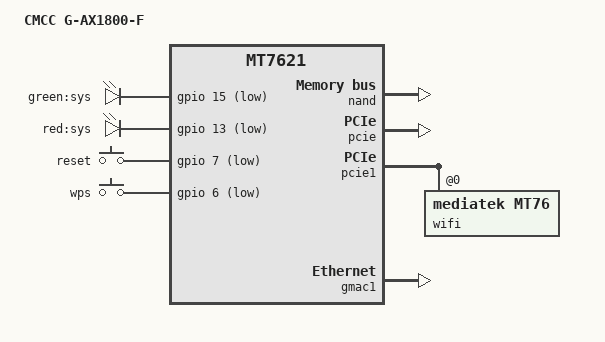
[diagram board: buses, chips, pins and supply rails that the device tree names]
// SPDX-License-Identifier: GPL-2.0-or-later OR MIT

#include "mt7621.dtsi"

#include <dt-bindings/gpio/gpio.h>
#include <dt-bindings/input/input.h>

/ {
	compatible = "cmcc,g-ax1800-f", "mediatek,mt7621-soc";
	model = "CMCC G-AX1800-F";

	aliases {
		led-boot = &led_sys_yellow;
		led-failsafe = &led_sys_yellow;
		led-running = &led_sys_blue;
		led-upgrade = &led_sys_yellow;
		label-mac-device = &gmac0;
	};

	chosen {
		bootargs = "console=ttyS0,115200n8";
	};

	leds {
		compatible = "gpio-leds";

		led_sys_green: sys_green {
			label = "green:sys";
			gpios = <&gpio 15 GPIO_ACTIVE_LOW>;
		};

		led_sys_red: sys_red {
			label = "red:sys";
			gpios = <&gpio 13 GPIO_ACTIVE_LOW>;
		};
	};

	keys {
		compatible = "gpio-keys";

		reset {
			label = "reset";
			gpios = <&gpio 7 GPIO_ACTIVE_LOW>;
			linux,code = <KEY_RESTART>;
		};

		wps {
			label = "wps";
			gpios = <&gpio 6 GPIO_ACTIVE_LOW>;
			linux,code = <KEY_WPS_BUTTON>;
		};
	};
};

&nand {
	status = "okay";

	partitions {
		compatible = "fixed-partitions";
		#address-cells = <1>;
		#size-cells = <1>;

		partition@0 {
			label = "Bootloader";
			reg = <0x0 0x80000>;
		};

		partition@80000 {
			label = "Nvram";
			reg = <0x80000 0x40000>;
			read-only;
		};

		partition@c0000 {
			label = "Bdata";
			reg = <0xc0000 0x40000>;
			read-only;
		};

		factory: partition@100000 {
			label = "Factory";
			reg = <0x100000 0x80000>;
			read-only;
		};

		partition@180000 {
			label = "crash";
			reg = <0x180000 0x40000>;
			read-only;
		};

		partition@1c0000 {
			label = "crash_log";
			reg = <0x1c0000 0x40000>;
			read-only;
		};

		partition@200000 {
			label = "kernel";
			reg = <0x200000 0x400000>;
		};

		partition@600000 {
			label = "ubi";
			reg = <0x600000 0x7980000>;
		};
	};
};

&pcie {
	status = "okay";
};

&pcie1 {
	wifi@0,0 {
		compatible = "mediatek,mt76";
		reg = <0x0000 0 0 0 0>;
		mediatek,mtd-eeprom = <&factory 0x0>;
	};
};

&gmac0 {
	mtd-mac-address = <&factory 0x3fff4>;
};

&gmac1 {
	mtd-mac-address = <&factory 0x3fffa>;
	status = "okay";
};

&switch0 {
	ports {
		port@1 {
			status = "okay";
			label = "lan1";
		};

		port@2 {
			status = "okay";
			label = "lan2";
		};

		port@3 {
			status = "okay";
			label = "lan3";
		};

		port@4 {
			status = "okay";
			label = "wan";
		};
	};
};

&state_default {
	gpio {
		groups = "jtag", "uart3", "wdt";
		function = "gpio";
	};
};
